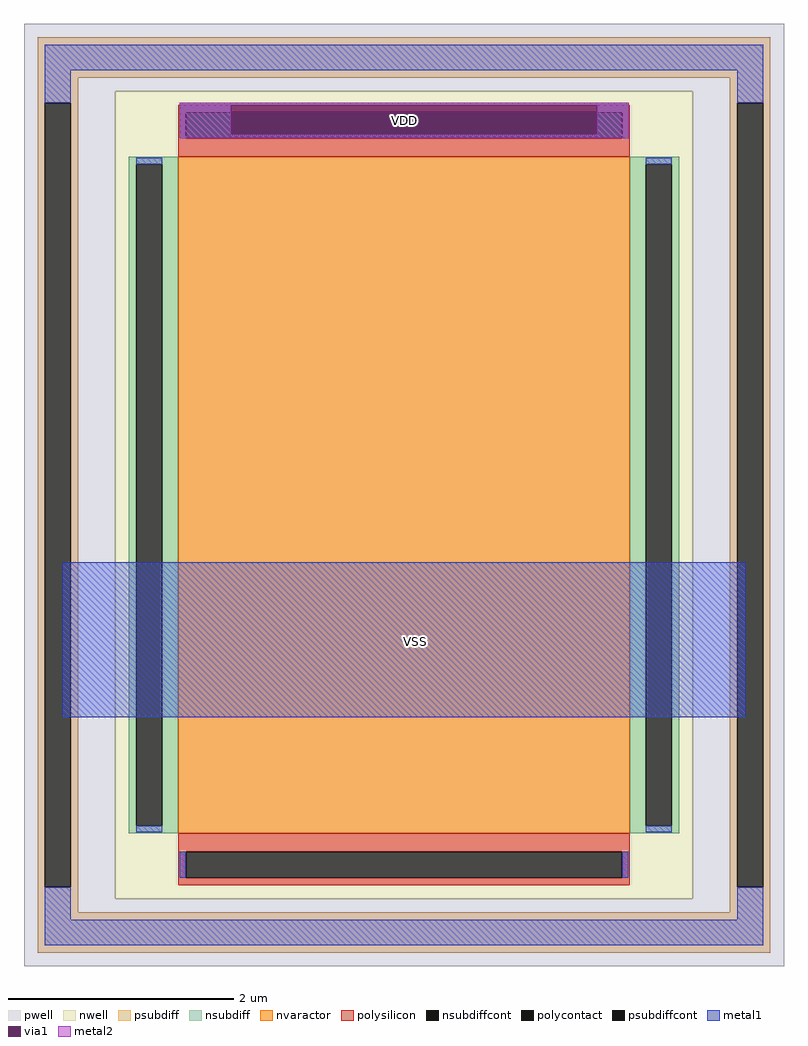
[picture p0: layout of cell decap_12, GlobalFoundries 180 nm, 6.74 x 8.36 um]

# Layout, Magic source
magic
tech gf180mcuD
magscale 1 10
<< metal1 >>
rect 216 1467 1013 1472
rect 216 1415 307 1467
rect 957 1415 1013 1467
rect 216 1409 1013 1415
rect 8 382 1220 657
<< via1 >>
rect 307 1415 957 1467
<< metal2 >>
rect 216 1467 1013 1472
rect 216 1415 307 1467
rect 957 1415 1013 1467
rect 216 1409 1013 1415
use nmoscap_3p3_SJXBET  nmoscap_3p3_SJXBET_0
transform 1 0 614 0 1 776
box -674 -836 674 836
<< labels >>
flabel metal1 298 399 970 632 0 FreeSans 320 0 0 0 VSS
port 2 nsew
flabel metal2 229 1412 999 1467 0 FreeSans 320 0 0 0 VDD
port 1 nsew
<< end >>

# cell nmoscap_3p3_SJXBET: kit device nmoscap_3p3, w 6.0 l 4.0 m 1 nf 1 diffcov 100 polycov 100 guard 1 glc 1 grc 1 gtc 0 gbc 0 tbcov 100 rlcov 100 topc 1 botc 1 poverlap 0 doverlap 1 lmin 0.28 wmin 0.22 class mosfet full_metal 1 compatible {nmoscap_3p3 nmoscap_6p0}
